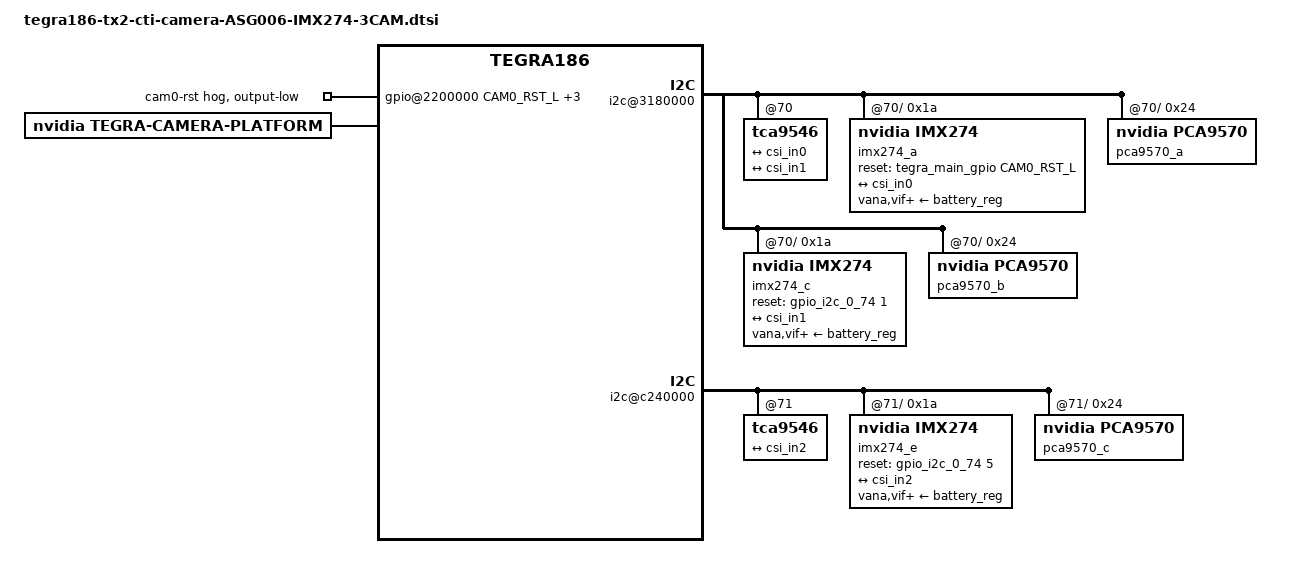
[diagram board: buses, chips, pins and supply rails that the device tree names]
    

#include <t18x-common-platforms/tegra186-tx2-cti-camera-base.dtsi>
#include "dt-bindings/clock/tegra186-clock.h"


/* camera control gpio definitions */

#define CAM0_RST_L  TEGRA_MAIN_GPIO(R, 5)
#define CAM0_PWDN   TEGRA_MAIN_GPIO(R, 0)
#define CAM1_RST_L  TEGRA_MAIN_GPIO(R, 1)
#define CAM1_PWDN   TEGRA_MAIN_GPIO(N, 2)


/ {
    
    gpio@2200000 {
        camera-control-output-low {
            gpio-hog;
            output-low;
            gpios = <CAM0_RST_L 0 CAM0_PWDN 0
                 CAM1_RST_L 0 CAM1_PWDN 0>;
            label = "cam0-rst", "cam0-pwdn",
                "cam1-rst", "cam1-pwdn";
        };
    };


/**********************SENSORS******************************************************************/

	i2c@3180000 {       //set this to correct i2c bus 
        tca9546@70 {    
            i2c@0{  //cam_i2c/Mux@70/I2C_A
                #address-cells = <1>;
                #size-cells = <0>;

                imx274_a@1a {
                    compatible = "nvidia,imx274";
                    reg = <0x1a>;
                    devnode = "video0";

                    /* Physical dimensions of sensor */
                    physical_w = "3.674";
                    physical_h = "2.738";
                    clocks = <&tegra_car TEGRA186_CLK_EXTPERIPH1>,
                             <&tegra_car TEGRA186_CLK_PLLP_OUT0>;
                    clock-names = "extperiph1", "pllp_grtba";
                    mclk = "extperiph1";
                    sensor_model = "imx274";
                    delayed_gain = "true";
                    reset-gpios = <&tegra_main_gpio CAM0_RST_L GPIO_ACTIVE_HIGH>;
                    vana-supply = <&battery_reg>;
                    vif-supply = <&battery_reg>;
                    vdig-supply = <&battery_reg>;
                    avdd-reg = "vana";
                    iovdd-reg = "vif";
                    dvdd-reg = "vdig";

                    mode0 {
                        mclk_khz = "24000";
                        num_lanes = "4";
                        tegra_sinterface = "serial_a";
                        discontinuous_clk = "yes";
                        dpcm_enable = "false";
                        cil_settletime = "0";

                        active_w = "3840";
                        active_h = "2160";
                        pixel_t = "bayer_rggb";
                        readout_orientation = "90";
                        line_length = "4200";
                        inherent_gain = "1";
                        mclk_multiplier = "24";
                        pix_clk_hz = "576000000";

                        min_gain_val = "1.0";
                        max_gain_val = "180";
                        min_hdr_ratio = "1";
                        max_hdr_ratio = "64";
                        min_framerate = "1.462526";
                        max_framerate = "60";
                        min_exp_time = "16.165";
                        max_exp_time = "165770";
                        //embedded_metadata_height = "1";
                    };
                    mode1 { // IMX274_MODE_1920X1080
                        mclk_khz = "24000";
                        num_lanes = "4";
                        tegra_sinterface = "serial_a";
                        discontinuous_clk = "yes";
                        dpcm_enable = "false";
                        cil_settletime = "0";

                        active_w = "1920";
                        active_h = "1080";
                        pixel_t = "bayer_rggb";
                        readout_orientation = "90";
                        line_length = "4200";
                        inherent_gain = "1";
                        mclk_multiplier = "24";
                        pix_clk_hz = "576000000";

                        min_gain_val = "1.0";
                        max_gain_val = "180";
                        min_hdr_ratio = "1";
                        max_hdr_ratio = "64";
                        min_framerate = "1.462526";
                        max_framerate = "60";
                        min_exp_time = "16.165";
                        max_exp_time = "165770";
    //                  embedded_metadata_height = "1";
                    };
                    mode2 { // IMX274_MODE_1280X720
                        mclk_khz = "24000";
                        num_lanes = "4";
                        tegra_sinterface = "serial_a";
                        discontinuous_clk = "yes";
                        dpcm_enable = "false";
                        cil_settletime = "0";

                        active_w = "1280";
                        active_h = "720";
                        pixel_t = "bayer_rggb";
                        readout_orientation = "90";
                        line_length = "4200";
                        inherent_gain = "1";
                        mclk_multiplier = "24";
                        pix_clk_hz = "576000000";

                        min_gain_val = "1.0";
                        max_gain_val = "180";
                        min_hdr_ratio = "1";
                        max_hdr_ratio = "64";
                        min_framerate = "1.462526";
                        max_framerate = "60";
                        min_exp_time = "16.165";
                        max_exp_time = "165770";
    //                  embedded_metadata_height = "1";
                    };

                    mode3 { // IMX274_MODE_1280X540
                        mclk_khz = "24000";
                        num_lanes = "4";
                        tegra_sinterface = "serial_a";
                        discontinuous_clk = "yes";
                        dpcm_enable = "false";
                        cil_settletime = "0";

                        active_w = "1280";
                        active_h = "540";
                        pixel_t = "bayer_rggb";
                        readout_orientation = "90";
                        line_length = "4200";
                        inherent_gain = "1";
                        mclk_multiplier = "24";
                        pix_clk_hz = "576000000";

                        min_gain_val = "1.0";
                        max_gain_val = "180";
                        min_hdr_ratio = "1";
                        max_hdr_ratio = "64";
                        min_framerate = "1.462526";
                        max_framerate = "60";
                        min_exp_time = "16.165";
                        max_exp_time = "165770";
    //                  embedded_metadata_height = "1";
                    };


                    ports {
                        #address-cells = <1>;
                        #size-cells = <0>;

                        port@0 {
                            reg = <0>;
                            imx274_out0: endpoint {
                                csi-port = <0>;
                                bus-width = <4>;
                                remote-endpoint = <&csi_in0>;
                            };
                        };
                    };
                };
                pca9570_a@24 {
                    compatible = "nvidia,pca9570";
                    reg = <0x24>;
                    channel = "a";
                    drive_ic= "DRV8838";
                };



            };
            i2c@2 {
                #address-cells = <1>;
                #size-cells = <0>;
                imx274_c@1a {
                    compatible = "nvidia,imx274";
                    reg = <0x1a>;
                    devnode = "video1";

                    /* Physical dimensions of sensor */
                    physical_w = "3.674";
                    physical_h = "2.738";

                    /* Define any required hw resources needed by driver */
                    /* ie. clocks, io pins, power sources */
                    clocks = <&tegra_car TEGRA186_CLK_EXTPERIPH2>,
                         <&tegra_car TEGRA186_CLK_PLLP_OUT0>;
                    clock-names = "extperiph2", "pllp_grtba";
                    mclk = "extperiph2";
                    reset-gpios = <&gpio_i2c_0_74 1 GPIO_ACTIVE_HIGH>;
                    vana-supply = <&battery_reg>;
                    vif-supply = <&battery_reg>;
                    vdig-supply = <&battery_reg>;
                    avdd-reg = "vana";
                    iovdd-reg = "vif";
                    dvdd-reg = "vdig";

                    mode0 {
                        mclk_khz = "24000";
                        num_lanes = "4";
                        tegra_sinterface = "serial_c";
                        discontinuous_clk = "yes";
                        dpcm_enable = "false";
                        cil_settletime = "0";

                        active_w = "3840";
                        active_h = "2160";
                        pixel_t = "bayer_rggb";
                        readout_orientation = "90";
                        line_length = "4200";
                        inherent_gain = "1";
                        mclk_multiplier = "24";
                        pix_clk_hz = "576000000";

                        min_gain_val = "1.0";
                        max_gain_val = "180";
                        min_hdr_ratio = "1";
                        max_hdr_ratio = "64";
                        min_framerate = "1.462526";
                        max_framerate = "60";
                        min_exp_time = "16.165";
                        max_exp_time = "165770";
                        //embedded_metadata_height = "1";
                    };

                    mode1 { // IMX274_MODE_1920X1080
                        mclk_khz = "24000";
                        num_lanes = "4";
                        tegra_sinterface = "serial_c";
                        discontinuous_clk = "yes";
                        dpcm_enable = "false";
                        cil_settletime = "0";

                        active_w = "1920";
                        active_h = "1080";
                        pixel_t = "bayer_rggb";
                        readout_orientation = "90";
                        line_length = "4200";
                        inherent_gain = "1";
                        mclk_multiplier = "24";
                        pix_clk_hz = "576000000";

                        min_gain_val = "1.0";
                        max_gain_val = "180";
                        min_hdr_ratio = "1";
                        max_hdr_ratio = "64";
                        min_framerate = "1.462526";
                        max_framerate = "60";
                        min_exp_time = "16.165";
                        max_exp_time = "165770";
    //                  embedded_metadata_height = "1";
                    };
                    mode2 { // IMX274_MODE_1280X720
                        mclk_khz = "24000";
                        num_lanes = "4";
                        tegra_sinterface = "serial_c";
                        discontinuous_clk = "yes";
                        dpcm_enable = "false";
                        cil_settletime = "0";

                        active_w = "1280";
                        active_h = "720";
                        pixel_t = "bayer_rggb";
                        readout_orientation = "90";
                        line_length = "4200";
                        inherent_gain = "1";
                        mclk_multiplier = "24";
                        pix_clk_hz = "576000000";

                        min_gain_val = "1.0";
                        max_gain_val = "180";
                        min_hdr_ratio = "1";
                        max_hdr_ratio = "64";
                        min_framerate = "1.462526";
                        max_framerate = "60";
                        min_exp_time = "16.165";
                        max_exp_time = "165770";
    //                  embedded_metadata_height = "1";
                    };
                    mode3 { // IMX274_MODE_1280X540
                        mclk_khz = "24000";
                        num_lanes = "4";
                        tegra_sinterface = "serial_c";
                        discontinuous_clk = "yes";
                        dpcm_enable = "false";
                        cil_settletime = "0";

                        active_w = "1280";
                        active_h = "540";
                        pixel_t = "bayer_rggb";
                        readout_orientation = "90";
                        line_length = "4200";
                        inherent_gain = "1";
                        mclk_multiplier = "24";
                        pix_clk_hz = "576000000";

                        min_gain_val = "1.0";
                        max_gain_val = "180";
                        min_hdr_ratio = "1";
                        max_hdr_ratio = "64";
                        min_framerate = "1.462526";
                        max_framerate = "60";
                        min_exp_time = "16.165";
                        max_exp_time = "165770";
    //                  embedded_metadata_height = "1";
                    };

                    ports {
                        #address-cells = <1>;
                        #size-cells = <0>;

                        port@0 {
                            reg = <0>;
                            imx274_out2: endpoint {
                                csi-port = <2>;
                                bus-width = <4>;
                                remote-endpoint = <&csi_in1>;
                            };
                        };
                    };
                };

                pca9570_b@24 {
                    compatible = "nvidia,pca9570";
                    reg = <0x24>;
                    channel = "b";
                    drive_ic= "DRV8838";
                };


            };
        };
	};
   i2c@c240000 {
        tca9546@71{
            i2c@1 {
                #address-cells = <1>;
                #size-cells = <0>;
                imx274_e@1a {
                    compatible = "nvidia,imx274";
                    reg = <0x1a>;
                    devnode = "video2";
                    /* Physical dimensions of sensor */

                    physical_w = "3.674";
                    physical_h = "2.738";
                    /* Define any required hw resources needed by driver */
                    /* ie. clocks, io pins, power sources */
                    clocks = <&tegra_car TEGRA186_CLK_EXTPERIPH1>,
                             <&tegra_car TEGRA186_CLK_PLLP_OUT0>;
                    clock-names = "extperiph1", "pllp_grtba";
                    mclk = "extperiph1";
                    reset-gpios = <&gpio_i2c_0_74 5 GPIO_ACTIVE_HIGH>;
                    vana-supply = <&battery_reg>;
                    vif-supply = <&battery_reg>;
                    vdig-supply = <&battery_reg>;



                    /* Define any required hw resources needed by driver */
                    /* ie. clocks, io pins, power sources */
                    avdd-reg = "vana";
                    iovdd-reg = "vif";
                    dvdd-reg = "vdig";

                    mode0 {
                        mclk_khz = "24000";
                        num_lanes = "4";
                        tegra_sinterface = "serial_e";
                        discontinuous_clk = "yes";
                        dpcm_enable = "false";
                        cil_settletime = "0";

                        active_w = "3840";
                        active_h = "2160";
                        pixel_t = "bayer_rggb";
                        readout_orientation = "90";
                        line_length = "4200";
                        inherent_gain = "1";
                        mclk_multiplier = "24";
                        pix_clk_hz = "576000000";

                        min_gain_val = "1.0";
                        max_gain_val = "180";
                        min_hdr_ratio = "1";
                        max_hdr_ratio = "64";
                        min_framerate = "1.462526";
                        max_framerate = "60";
                        min_exp_time = "16.165";
                        max_exp_time = "165770";
                        //embedded_metadata_height = "1";
                    };

                    mode1 { // IMX274_MODE_1920X1080
                        mclk_khz = "24000";
                        num_lanes = "4";
                        tegra_sinterface = "serial_e";
                        discontinuous_clk = "yes";
                        dpcm_enable = "false";
                        cil_settletime = "0";

                        active_w = "1920";
                        active_h = "1080";
                        pixel_t = "bayer_rggb";
                        readout_orientation = "90";
                        line_length = "4200";
                        inherent_gain = "1";
                        mclk_multiplier = "24";
                        pix_clk_hz = "576000000";

                        min_gain_val = "1.0";
                        max_gain_val = "180";
                        min_hdr_ratio = "1";
                        max_hdr_ratio = "64";
                        min_framerate = "1.462526";
                        max_framerate = "60";
                        min_exp_time = "16.165";
                        max_exp_time = "165770";
    //                  embedded_metadata_height = "1";
                    };
                    mode2 { // IMX274_MODE_1280X720
                        mclk_khz = "24000";
                        num_lanes = "4";
                        tegra_sinterface = "serial_e";
                        discontinuous_clk = "yes";
                        dpcm_enable = "false";
                        cil_settletime = "0";

                        active_w = "1280";
                        active_h = "720";
                        pixel_t = "bayer_rggb";
                        readout_orientation = "90";
                        line_length = "4200";
                        inherent_gain = "1";
                        mclk_multiplier = "24";
                        pix_clk_hz = "576000000";

                        min_gain_val = "1.0";
                        max_gain_val = "180";
                        min_hdr_ratio = "1";
                        max_hdr_ratio = "64";
                        min_framerate = "1.462526";
                        max_framerate = "60";
                        min_exp_time = "16.165";
                        max_exp_time = "165770";
    //                  embedded_metadata_height = "1";
                    };
                    mode3 { // IMX274_MODE_1280X540
                        mclk_khz = "24000";
                        num_lanes = "4";
                        tegra_sinterface = "serial_e";
                        discontinuous_clk = "yes";
                        dpcm_enable = "false";
                        cil_settletime = "0";

                        active_w = "1280";
                        active_h = "540";
                        pixel_t = "bayer_rggb";
                        readout_orientation = "90";
                        line_length = "4200";
                        inherent_gain = "1";
                        mclk_multiplier = "24";
                        pix_clk_hz = "576000000";

                        min_gain_val = "1.0";
                        max_gain_val = "180";
                        min_hdr_ratio = "1";
                        max_hdr_ratio = "64";
                        min_framerate = "1.462526";
                        max_framerate = "60";
                        min_exp_time = "16.165";
                        max_exp_time = "165770";
    //                  embedded_metadata_height = "1";
                    };
                    ports {
                        #address-cells = <1>;
                        #size-cells = <0>;

                        port@0 {
                            reg = <0>;
                            imx274_out4: endpoint {
                                csi-port = <4>;
                                bus-width = <4>;
                                remote-endpoint = <&csi_in2>;
                            };
                        };
                    }; 
                };
                
                pca9570_c@24 {
                    compatible = "nvidia,pca9570";
                    reg = <0x24>;
                    channel = "c";
                    drive_ic= "DRV8838";
                };

            };
        };
    };

/**********************VI******************************************************************/

     host1x {
        vi@15700000 {
            num-channels = <3>; //set number of channels
            status = "okay";
            ports {
                port@0 {
                    status = "okay";
                    endpoint {
                        status = "okay";
                        csi-port = <0>;
                        bus-width = <4>;
                        remote-endpoint = <&csi_out0>; 
                    };
                };

                port@1 {
                    status = "okay";
                    endpoint {
                        status = "okay";
                        csi-port = <2>;
                        bus-width = <4>;
                        remote-endpoint = <&csi_out1>; 
                    };
                };
                port@2 {
                    status = "okay";
                    endpoint {
                        status = "okay";
                        csi-port = <4>;
                        bus-width = <4>;
                        remote-endpoint = <&csi_out2>; 
                    };
                };
            };
        };

/**********************CSI******************************************************************/
        nvcsi@150c0000 {
            num-channels = <3>;

            channel@0 {
                status = "okay";
                ports {
                     port@0 {
                        status = "okay";
                        endpoint@0 {
                            csi-port = <0>;
                            bus-width = <4>;
                            remote-endpoint = <&imx274_out0>; //should be sensor port under i2c endpoint
                            status = "okay";

                        };
                    };
                    port@1 {
                        status = "okay";
                        endpoint@1 {
                            status = "okay";
                            remote-endpoint = <&vi_in0>; 
                        };
                    };
                };
            };

            channel@1 {
                status = "okay";
                ports {
                    port@0 {
                        status = "okay";
                        endpoint@2 {
                            csi-port = <2>;
                            bus-width = <4>;
                            remote-endpoint = <&imx274_out2>; //should be sensor port under i2c endpoint
                            status = "okay";

                        };
                    };
                    port@1 {
                        status = "okay";
                        endpoint@3 {
                            status = "okay";
                            remote-endpoint = <&vi_in1>; 
                        };
                    };
                };
            };
            channel@2 {
                status = "okay";
                ports {
                    port@0 {
                        status = "okay";
                        endpoint@4 {
                            csi-port = <4>;
                            bus-width = <4>;
                            remote-endpoint = <&imx274_out4>; //should be sensor port under i2c endpoint
                            status = "okay";
                        };
                    };
                    port@1 {
                        status = "okay";
                        endpoint@5 {
                            status = "okay";
                            remote-endpoint = <&vi_in2>; 
                        };
                    };
                };
            };
        };
    };
    lens_imx274@A6V26 {
        min_focus_distance = "0.0";
        hyper_focal = "0.0";
        focal_length = "5.00";
        f_number = "2.0";
        aperture = "2.2";
    };

/**********************CAMERA PLATFORM*************************************************************/

    tegra-camera-platform {
        compatible = "nvidia, tegra-camera-platform";
        /**
        * Physical settings to calculate max ISO BW
        *
        * num_csi_lanes = <>;
        * Total number of CSI lanes when all cameras are active
        *
        * max_lane_speed = <>;
        * Max lane speed in Kbit/s
        *
        * min_bits_per_pixel = <>;
        * Min bits per pixel
        *
        * vi_peak_byte_per_pixel = <>;
        * Max byte per pixel for the VI ISO case
        *
        * vi_bw_margin_pct = <>;
        * Vi bandwidth margin in percentage
        *
        * max_pixel_rate = <>;
        * Max pixel rate in Kpixel/s for the ISP ISO case
        * Set this to the highest pix_clk_hz out of all available modes.
        *
        * isp_peak_byte_per_pixel = <>;
        * Max byte per pixel for the ISP ISO case
        *
        * isp_bw_margin_pct = <>;
        * Isp bandwidth margin in percentage
        */
        num_csi_lanes = <12>;
        max_lane_speed = <1500000>;
        min_bits_per_pixel = <10>;
        vi_peak_byte_per_pixel = <2>;
        vi_bw_margin_pct = <25>;
        max_pixel_rate = <750000>;
        isp_peak_byte_per_pixel = <5>;
        isp_bw_margin_pct = <25>;

        /**
        * The general guideline for naming badge_info contains 3 parts, and is as follows,
        * The first part is the camera_board_id for the module; if the module is in a FFD
        * platform, then use the platform name for this part.
        * The second part contains the position of the module, ex. “rear” or “front”.
        * The third part contains the last 6 characters of a part number which is found
        * in the module's specsheet from the vender.
        */
        modules {

            module0 {
                badge = "imx274_bottom_A6V26";
                position = "bottom";
                orientation = "0";
                status = "okay";
                drivernode0 {
                    status = "okay";
                    pcl_id = "v4l2_sensor";
                    devname = "imx274 30-001a";
                    proc-device-tree = "/proc/device-tree/i2c@3180000/tca9546@70/i2c@0/imx274_a@1a";
                };
                drivernode1 {
                    status = "okay";
                    pcl_id = "v4l2_lens";
                    proc-device-tree = "/proc/device-tree/lens_imx274@A6V26/";
                };
            };

            module1 {
                badge = "imx274_top_A6V26";
                position = "top";
                orientation = "0";
                status = "okay";
                drivernode0 {
                status = "okay";
                    pcl_id = "v4l2_sensor";
                    devname = "imx274 32-001a";
                    proc-device-tree = "/proc/device-tree/i2c@3180000/tca9546@70/i2c@2/imx274_c@1a";
                };
                drivernode1 {
                status = "okay";
                    pcl_id = "v4l2_lens";
                    proc-device-tree = "/proc/device-tree/lens_imx274@A6V26/";
                };
            };

            module2 {
                badge = "imx274_center_A6V26";
                position = "center";
                orientation = "0";
                status = "okay";
                drivernode0 {
                status = "okay";
                    pcl_id = "v4l2_sensor";
                    devname = "imx274 35-001a";
                    proc-device-tree = "/proc/device-tree/i2c@c240000/tca9546@71/i2c@1/imx274_e@1a";
                };
                drivernode1 {
                status = "okay";
                    pcl_id = "v4l2_lens";
                    proc-device-tree = "/proc/device-tree/lens_imx274@A6V26/";
                };
            };
        };
    };
};
